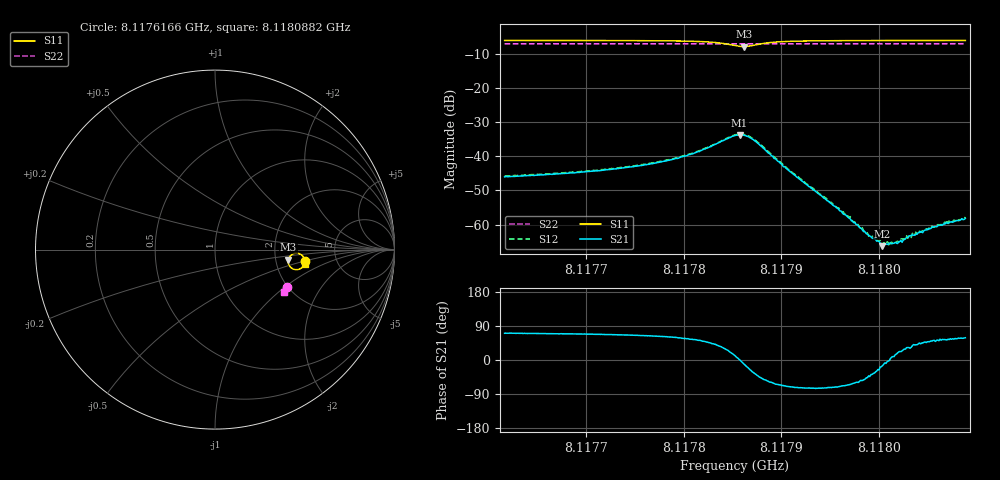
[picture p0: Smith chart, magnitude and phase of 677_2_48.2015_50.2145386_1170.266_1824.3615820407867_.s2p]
#  HZ  S  RI  R  50.00
! Rohde & Schwarz Vector Network Analyzer
! Rohde-Schwarz,ZNB20-2Port,1311601062101988,3.16
! Created: UTC 3/20/2024, 12:06:23 PM
! freq[Hz]  re:S11  im:S11  re:S21  im:S21  re:S12  im:S12  re:S22  im:S22
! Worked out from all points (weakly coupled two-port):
!   401 points, 8.1176166 GHz to 8.1180882 GHz, reference 50 ohm
!   highest |S21| = -33.65 dB at 8.1178572 GHz (marker M1); lowest = -66.3 dB at 8.1180034 GHz (marker M2)
!   lowest |S11| = -7.7 dB at 8.1178619 GHz (marker M3), VSWR 2.40, Z = 118 - j15.9 ohm
!   |S11| at or under -10 dB: nowhere
!   |S22| runs from -7.0 to -6.9 dB; largest |S21 - S12| = 0.00075
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8.11761664e9  0.5027 -0.0646  0.00167 0.00473  0.00173 0.00489  0.4017 -0.209
8.11769563e9  0.5002 -0.0745  0.00216 0.00549  0.00222 0.0056  0.3993 -0.2142
8.117731e9  0.4982 -0.08  0.00261 0.00603  0.0027 0.00617  0.398 -0.2163
8.11777463e9  0.4933 -0.0898  0.00379 0.00728  0.00389 0.00743  0.3965 -0.2194
8.11780882e9  0.4823 -0.102  0.0063 0.00888  0.00653 0.009  0.3949 -0.2219
8.11783829e9  0.4487 -0.1116  0.0137 0.00953  0.0138 0.00971  0.3922 -0.2236
8.11785244e9  0.4159 -0.0918  0.0198 0.00398  0.0203 0.00417  0.3906 -0.2232
8.11785716e9  0.4088 -0.0754  0.0208 0.000161  0.0213 0.000518  0.3903 -0.2227
8.11786188e9  0.4087 -0.0562  0.0201 -0.00394  0.0207 -0.00389  0.3906 -0.222
8.11787249e9  0.433 -0.0248  0.0139 -0.00996  0.0144 -0.0101  0.3915 -0.2215
8.11789489e9  0.4803 -0.0281  0.00393 -0.00802  0.00408 -0.00828  0.393 -0.2237
8.11793144e9  0.4973 -0.0506  0.000912 -0.00321  0.000904 -0.00335  0.3923 -0.227
8.11796799e9  0.5003 -0.0626  0.000517 -0.00118  0.000523 -0.00123  0.3911 -0.2296
8.11798685e9  0.5007 -0.0668  0.000499 -0.000535  0.000542 -0.000565  0.3906 -0.2309
8.11800336e9  0.5008 -0.0698  0.000467 -0.000127  0.000488 -0.000113  0.3899 -0.2322
8.11801043e9  0.5007 -0.071  0.00053 -1.37e-05  0.000481 9.47e-06  0.3898 -0.2326
8.11801751e9  0.5007 -0.0722  0.000517 0.000143  0.000538 0.000129  0.3895 -0.2332
8.11802104e9  0.5007 -0.0727  0.00052 0.000216  0.000566 0.000202  0.3893 -0.2332
8.11803048e9  0.5006 -0.0742  0.000573 0.000367  0.000539 0.000391  0.389 -0.234
8.11805524e9  0.5003 -0.0776  0.000573 0.000721  0.000578 0.000713  0.3882 -0.2354
8.11806938e9  0.5002 -0.0794  0.000633 0.000848  0.000665 0.000955  0.3876 -0.2364
8.11808825e9  0.5001 -0.0815  0.000637 0.00105  0.000672 0.0011  0.3871 -0.2376
